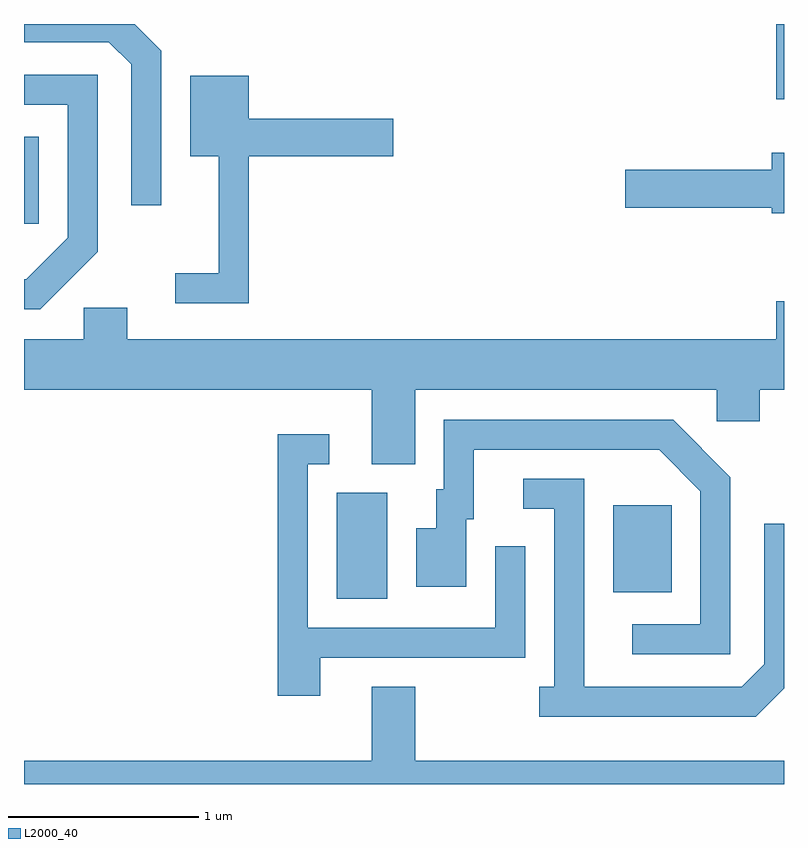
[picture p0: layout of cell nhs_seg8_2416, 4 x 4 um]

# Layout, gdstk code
import gdstk
lib = gdstk.Library(unit=1e-6, precision=1e-09)
def R(c, l, rs):  # rectangles x0, y0, x1, y1
    for r in rs: c.add(gdstk.rectangle(r[:2], r[2:], *l))
def P(c, l, *ps):  # polygons
    for p in ps: c.add(gdstk.Polygon(p, *l))
L2000_40 = (2000, 40)

nhs_seg8_2416 = lib.new_cell('nhs_seg8_2416')
R(nhs_seg8_2416, L2000_40, [(259.256,1835.316,259.524,1835.874), (260.711,1835.351,261.019,1835.809), (257.611,1837.291,257.689,1837.749), (261.571,1837.946,261.611,1838.342)])
P(nhs_seg8_2416, L2000_40, [(258.334,1838.202),(258.194,1838.342),(257.611,1838.342),(257.611,1838.246),(258.058,1838.246),(258.176,1838.129),(258.176,1837.388),(258.334,1837.388)],
  [(257.999,1837.144),(257.999,1838.074),(257.611,1838.074),(257.611,1837.916),(257.841,1837.916),(257.841,1837.217),(257.623,1836.999),(257.611,1836.999),(257.611,1836.841),(257.697,1836.841)],
  [(258.794,1837.646),(259.554,1837.646),(259.554,1837.844),(258.794,1837.844),(258.794,1838.069),(258.486,1838.069),(258.486,1837.646),(258.636,1837.646),(258.636,1837.029),(258.408,1837.029),(258.408,1836.871),(258.794,1836.871)],
  [(261.611,1837.664),(261.546,1837.664),(261.546,1837.574),(260.776,1837.574),(260.776,1837.376),(261.546,1837.376),(261.546,1837.346),(261.611,1837.346)],
  [(259.669,1836.416),(261.256,1836.416),(261.256,1836.251),(261.484,1836.251),(261.484,1836.416),(261.611,1836.416),(261.611,1836.884),(261.571,1836.884),(261.571,1836.684),(258.154,1836.684),(258.154,1836.849),(257.926,1836.849),(257.926,1836.684),(257.611,1836.684),(257.611,1836.416),(259.441,1836.416),(259.441,1836.026),(259.669,1836.026)],
  [(261.329,1835.957),(261.027,1836.259),(259.821,1836.259),(259.821,1835.894),(259.781,1835.894),(259.781,1835.689),(259.676,1835.689),(259.676,1835.381),(259.939,1835.381),(259.939,1835.736),(259.979,1835.736),(259.979,1836.101),(260.954,1836.101),(261.171,1835.884),(261.171,1835.184),(260.813,1835.184),(260.813,1835.026),(261.329,1835.026)],
  [(259.169,1835.006),(260.249,1835.006),(260.249,1835.593),(260.091,1835.593),(260.091,1835.164),(259.104,1835.164),(259.104,1836.026),(259.218,1836.026),(259.218,1836.184),(258.946,1836.184),(258.946,1834.806),(259.169,1834.806)],
  [(261.611,1834.846),(261.611,1835.713),(261.506,1835.713),(261.506,1834.972),(261.389,1834.854),(260.559,1834.854),(260.559,1835.949),(260.238,1835.949),(260.238,1835.791),(260.401,1835.791),(260.401,1834.854),(260.323,1834.854),(260.323,1834.696),(261.462,1834.696)],
  [(261.611,1834.464),(259.669,1834.464),(259.669,1834.854),(259.441,1834.854),(259.441,1834.464),(257.611,1834.464),(257.611,1834.342),(261.611,1834.342)])

lib.write_gds('nhs_seg8_2416.gds')
